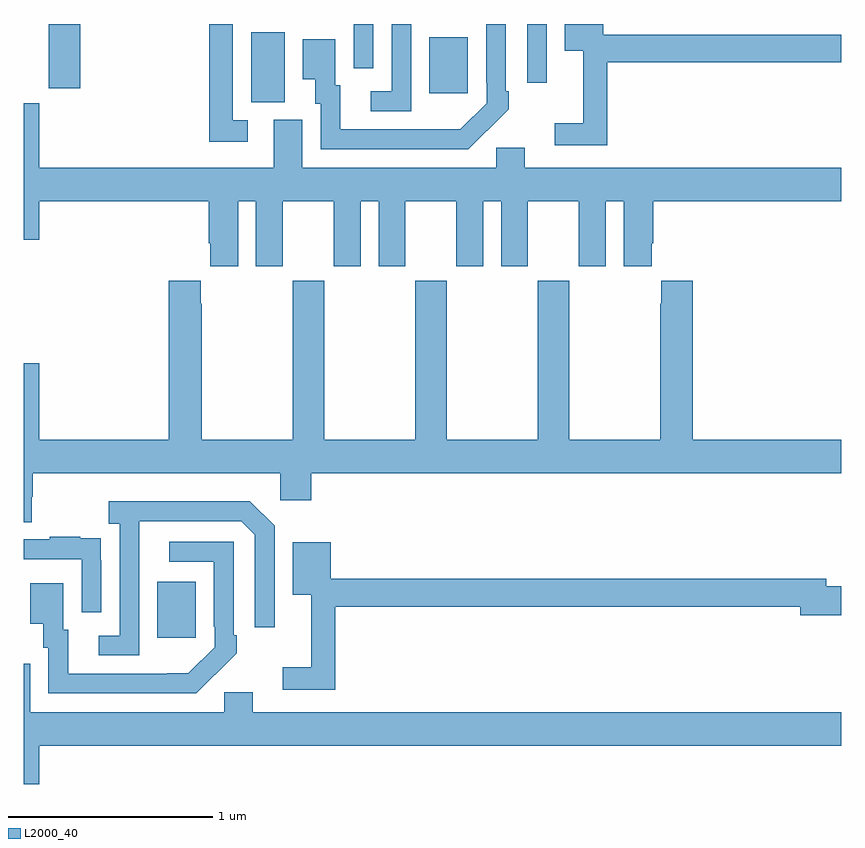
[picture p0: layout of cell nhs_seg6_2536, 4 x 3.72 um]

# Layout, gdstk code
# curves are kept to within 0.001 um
import gdstk
lib = gdstk.Library(unit=1e-6, precision=1e-09)
def R(c, l, rs):  # rectangles x0, y0, x1, y1
    for r in rs: c.add(gdstk.rectangle(r[:2], r[2:], *l))
def P(c, l, *ps):  # polygons
    for p in ps: c.add(gdstk.Polygon(p, *l))
L2000_40 = (2000, 40)

nhs_seg6_2536 = lib.new_cell('nhs_seg6_2536')
R(nhs_seg6_2536, L2000_40, [(261.653,982.497,261.841,982.771), (262.112,985.117,262.276,985.46), (262.985,985.161,263.173,985.435), (261.122,985.185,261.275,985.5), (263.463,985.212,263.559,985.5), (262.614,985.284,262.71,985.5)])
P(nhs_seg6_2536, L2000_40, [(263.855,985.312),(265,985.312),(265,985.448),(263.835,985.448),(263.835,985.5),(263.648,985.5),(263.648,985.37),(263.738,985.37),(263.738,985.015),(263.598,985.015),(263.598,984.906),(263.855,984.906)],
  [(263.267,984.979),(263.268,984.978),(263.373,985.083),(263.373,985.171),(263.358,985.171),(263.358,985.5),(263.262,985.5),(263.262,985.213),(263.265,985.213),(263.265,985.113),(263.137,984.985),(262.549,984.984),(262.549,985.2),(262.525,985.2),(262.525,985.426),(262.364,985.426),(262.364,985.229),(262.427,985.229),(262.427,985.11),(262.452,985.11),(262.452,984.888),(263.176,984.888)],
  [(262.096,985.029),(262.023,985.029),(262.023,985.5),(261.907,985.5),(261.907,984.924),(262.096,984.924)],
  [(262.896,985.5),(262.8,985.5),(262.8,985.17),(262.698,985.17),(262.698,985.074),(262.896,985.074)],
  [(262.048,984.632),(262.136,984.632),(262.136,984.315),(262.267,984.315),(262.267,984.632),(262.517,984.632),(262.517,984.315),(262.648,984.315),(262.648,984.632),(262.736,984.632),(262.736,984.315),(262.867,984.315),(262.867,984.632),(263.117,984.632),(263.117,984.315),(263.248,984.315),(263.248,984.632),(263.336,984.632),(263.336,984.315),(263.467,984.315),(263.467,984.632),(263.717,984.632),(263.717,984.315),(263.848,984.315),(263.848,984.632),(263.936,984.632),(263.936,984.315),(264.073,984.315),(264.073,984.427),(264.08,984.427),(264.08,984.632),(265,984.632),(265,984.796),(263.452,984.796),(263.452,984.894),(263.313,984.894),(263.313,984.796),(262.363,984.796),(262.363,985.032),(262.223,985.032),(262.223,984.796),(261.076,984.796),(261.076,985.113),(261,985.113),(261,984.444),(261.076,984.444),(261.076,984.632),(261.904,984.632),(261.904,984.427),(261.911,984.427),(261.911,984.315),(262.048,984.315)],
  [(261.039,983.187),(261.044,983.187),(261.044,983.3),(262.254,983.3),(262.254,983.169),(262.406,983.169),(262.406,983.3),(265,983.3),(265,983.464),(264.275,983.464),(264.275,984.244),(264.119,984.244),(264.119,984.131),(264.115,984.131),(264.115,983.464),(263.67,983.464),(263.67,984.244),(263.515,984.244),(263.515,983.464),(263.07,983.464),(263.07,984.244),(262.915,984.244),(262.915,983.464),(262.47,983.464),(262.47,984.244),(262.315,984.244),(262.315,983.464),(261.87,983.464),(261.87,984.131),(261.865,984.131),(261.865,984.244),(261.71,984.244),(261.71,983.464),(261.076,983.464),(261.076,983.839),(261,983.839),(261,983.062),(261.039,983.062)],
  [(261.564,982.867),(261.565,983.067),(262.065,983.067),(262.131,983.001),(262.131,982.548),(262.227,982.548),(262.227,983.043),(262.106,983.164),(261.416,983.164),(261.416,983.054),(261.468,983.054),(261.468,982.506),(261.366,982.506),(261.366,982.41),(261.564,982.41)],
  [(261.378,982.874),(261.377,982.874),(261.377,982.983),(261.275,982.983),(261.275,982.99),(261.127,982.99),(261.127,982.977),(261,982.977),(261,982.881),(261.282,982.881),(261.282,982.62),(261.378,982.62)],
  [(261.935,982.315),(261.936,982.314),(262.041,982.419),(262.041,982.507),(262.026,982.507),(262.026,982.965),(261.711,982.965),(261.711,982.869),(261.93,982.869),(261.93,982.549),(261.933,982.549),(261.933,982.449),(261.805,982.321),(261.217,982.32),(261.217,982.536),(261.193,982.536),(261.193,982.762),(261.032,982.762),(261.032,982.565),(261.095,982.565),(261.095,982.446),(261.12,982.446),(261.12,982.224),(261.844,982.224)],
  [(262.523,982.648),(264.8,982.648),(264.8,982.606),(265,982.606),(265,982.748),(264.928,982.748),(264.928,982.784),(262.503,982.784),(262.503,982.963),(262.316,982.963),(262.316,982.706),(262.406,982.706),(262.406,982.351),(262.266,982.351),(262.266,982.242),(262.523,982.242)],
  [(261.076,981.968),(265,981.968),(265,982.132),(262.12,982.132),(262.12,982.23),(261.981,982.23),(261.981,982.132),(261.031,982.132),(261.031,982.368),(261,982.368),(261,981.78),(261.076,981.78)])

lib.write_gds('nhs_seg6_2536.gds')
